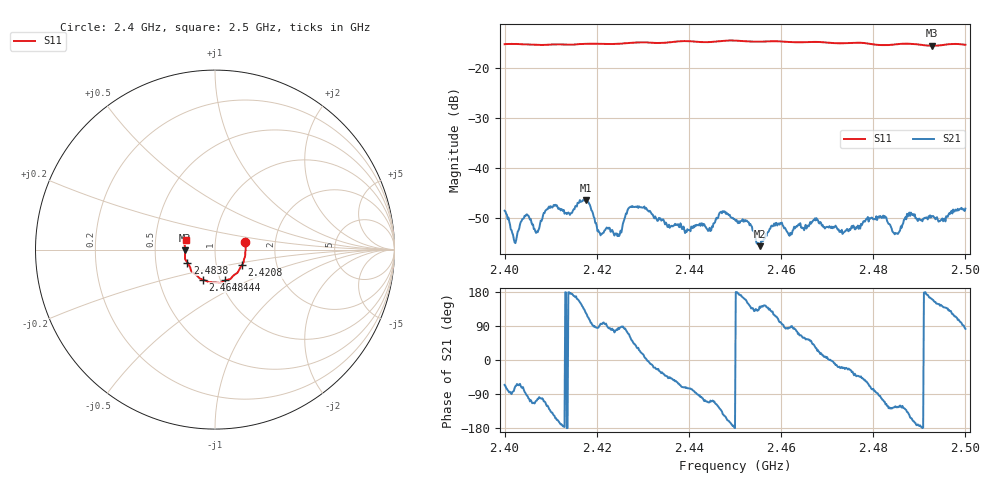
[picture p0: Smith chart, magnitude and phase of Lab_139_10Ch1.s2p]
# Hz S RI R 50
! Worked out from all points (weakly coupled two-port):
!   601 points, 2.4 GHz to 2.5 GHz, reference 50 ohm
!   highest |S21| = -46.43 dB at 2.4177 GHz (marker M1); lowest = -55.7 dB at 2.4553 GHz (marker M2)
!   lowest |S11| = -15.6 dB at 2.4928 GHz (marker M3), VSWR 1.40, Z = 35.8 - j0.338 ohm
!   |S11| at or under -10 dB: start of sweep to end of sweep
!   S12 and S22 are empty: the file has one direction only
!   S11 on the Smith chart (normalised r, x): 2.4 GHz: 1.40, +0.12; 2.4208 GHz: 1.33, -0.24; 2.444 GHz: 1.06, -0.37; 2.4648 GHz: 0.83, -0.29; 2.4838 GHz: 0.73, -0.11; 2.5 GHz: 0.72, +0.08
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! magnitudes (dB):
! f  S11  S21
! 2.4 GHz  -15.3  -48.6
! 2.4022 GHz  -15.2  -54.9
! 2.4047 GHz  -15.3  -49.4
! 2.407 GHz  -15.4  -52.8
! 2.4095 GHz  -15.4  -48.0
! 2.4167 GHz  -15.2  -46.8
! 2.4177 GHz  -15.2  -46.4
! 2.4208 GHz  -15.2  -53.5
! 2.4248 GHz  -15.2  -53.7
! 2.4275 GHz  -15.0  -47.9
! 2.4333 GHz  -15.0  -50.6
! 2.444 GHz  -14.9  -52.4
! 2.4472 GHz  -14.6  -49.1
! 2.45 GHz  -14.5  -50.5
! 2.4553 GHz  -14.8  -55.7
! 2.4585 GHz  -14.7  -51.2
! 2.4648 GHz  -14.9  -52.1
! 2.4667 GHz  -14.8  -50.9
! 2.4833 GHz  -15.4  -51.3
! 2.4838 GHz  -15.4  -51.8
! 2.4928 GHz  -15.6  -49.7
! 2.5 GHz  -15.4  -48.2
